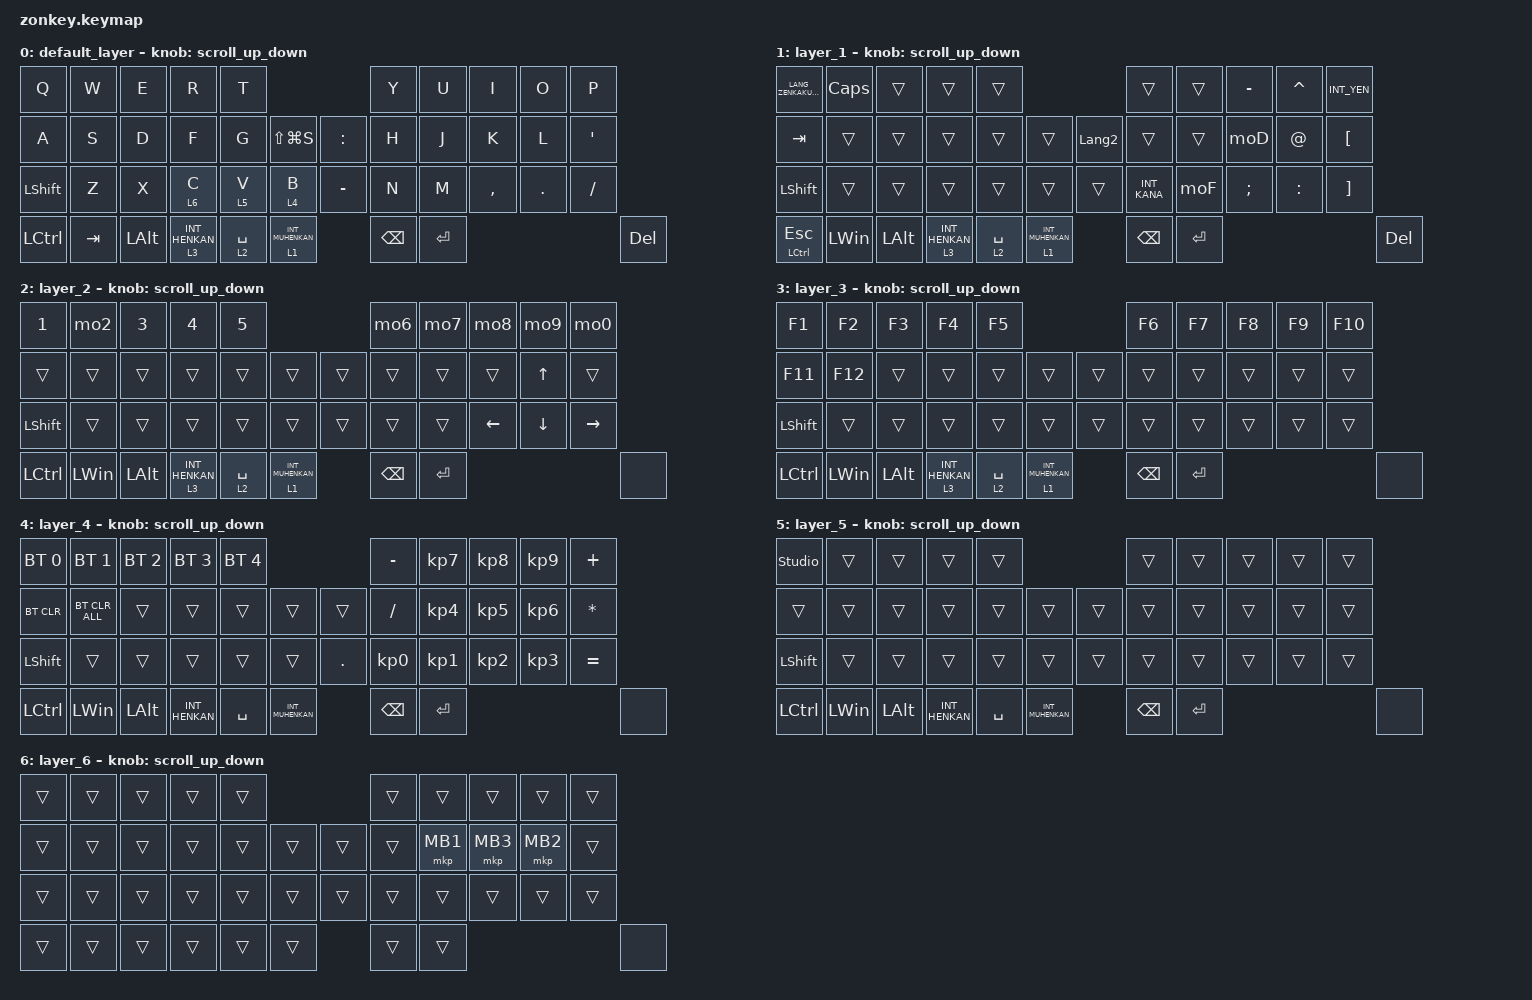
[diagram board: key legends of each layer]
#include <behaviors.dtsi>
#include <dt-bindings/zmk/bt.h>
#include <dt-bindings/zmk/keys.h>
#include <dt-bindings/zmk/pointing.h>

/* Redefinition guard for pointing */

#ifdef ZMK_POINTING_DEFAULT_SCRL_VAL
#undef ZMK_POINTING_DEFAULT_SCRL_VAL
#endif

#define ZMK_POINTING_DEFAULT_SCRL_VAL 100
#define MOUSE 6
#define JP_DQUOTE       AT               // "
#define JP_AMPERSAND    CARET             // &
#define JP_QUOTE        AMPERSAND         // '
#define JP_EQUAL        UNDER             // =
#define JP_CARET        EQUAL             // ^
#define JP_YEN          0x89              // ¥
#define JP_PLUS         COLON             // +
#define JP_TILDE        PLUS              // ~
#define JP_PIPE         LS(0x89)          // |
#define JP_AT           LEFT_BRACKET      // @
#define JP_COLON        SINGLE_QUOTE      // :
#define JP_ASTERISK     DOUBLE_QUOTES     // *
#define JP_BACKQUOTE    LEFT_BRACE        // `
#define JP_UNDERSCORE   LS(0x87)          // _
#define JP_LBRACKET     RIGHT_BRACKET     // [
#define JP_RBRACKET     BACKSLASH         // ]
#define JP_LPAREN       ASTERISK          // (
#define JP_RPAREN       LEFT_PARENTHESIS  // )
#define JP_LBRACE       RIGHT_BRACE        // {
#define JP_RBRACE       PIPE              // }
#define JP_KANA         LANGUAGE_1        // かな
#define JP_EISU         LANGUAGE_2        // 英数
#define JP_HANZEN       GRAVE             // 半角/全角
#define JP_BSLH         INT1              // (backslash)

&mt {
    flavor = "balanced";
    quick-tap-ms = <0>;
};

/ {
    combos { compatible = "zmk,combos"; };

    macros {
        to_layer_0: to_layer_0 {
            compatible = "zmk,behavior-macro-one-param";
            #binding-cells = <1>;
            bindings = <&to 0 &macro_param_1to1 &kp MACRO_PLACEHOLDER>;
            label = "TO_LAYER_0";
        };
    };

    behaviors {
        mo2: mo2 {
            compatible = "zmk,behavior-mod-morph";
            #binding-cells = <0>;
            bindings = <&kp N2>, <&kp AT>;

            mods = <(MOD_LSFT|MOD_RSFT)>;
        };

        mo6: mo6 {
            compatible = "zmk,behavior-mod-morph";
            #binding-cells = <0>;
            bindings = <&kp N6>, <&kp CARET>;

            mods = <(MOD_LSFT|MOD_RSFT)>;
        };

        mo7: mo7 {
            compatible = "zmk,behavior-mod-morph";
            #binding-cells = <0>;
            bindings = <&kp N7>, <&kp AMPS>;

            mods = <(MOD_LSFT|MOD_RSFT)>;
        };

        mo8: mo8 {
            compatible = "zmk,behavior-mod-morph";
            #binding-cells = <0>;
            bindings = <&kp N8>, <&kp ASTRK>;

            mods = <(MOD_LSFT|MOD_RSFT)>;
        };

        mo9: mo9 {
            compatible = "zmk,behavior-mod-morph";
            #binding-cells = <0>;
            bindings = <&kp N9>, <&kp LPAR>;

            mods = <(MOD_LSFT|MOD_RSFT)>;
        };

        mo0: mo0 {
            compatible = "zmk,behavior-mod-morph";
            #binding-cells = <0>;
            bindings = <&kp N0>, <&kp LS(N9)>;

            mods = <(MOD_LSFT|MOD_RSFT)>;
        };

        moA: moA {
            compatible = "zmk,behavior-mod-morph";
            #binding-cells = <0>;
            bindings = <&kp MINUS>, <&kp UNDERSCORE>;

            mods = <(MOD_LSFT|MOD_RSFT)>;
        };

        moB: moB {
            compatible = "zmk,behavior-mod-morph";
            #binding-cells = <0>;
            bindings = <&kp EQUAL>, <&kp PLUS>;

            mods = <(MOD_LSFT|MOD_RSFT)>;
        };

        moC: moC {
            compatible = "zmk,behavior-mod-morph";
            #binding-cells = <0>;
            bindings = <&kp INT3>, <&kp JP_PIPE>;

            mods = <(MOD_LSFT|MOD_RSFT)>;
        };

        moD: moD {
            compatible = "zmk,behavior-mod-morph";
            #binding-cells = <0>;
            bindings = <&kp LBKT>, <&kp LBRC>;

            mods = <(MOD_LSFT|MOD_RSFT)>;
        };

        moE: moE {
            compatible = "zmk,behavior-mod-morph";
            #binding-cells = <0>;
            bindings = <&kp RBKT>, <&kp RBRC>;

            mods = <(MOD_LSFT|MOD_RSFT)>;
        };

        moF: moF {
            compatible = "zmk,behavior-mod-morph";
            #binding-cells = <0>;
            bindings = <&kp SEMI>, <&kp KP_PLUS>;

            mods = <(MOD_LSFT|MOD_RSFT)>;
        };

        moG: moG {
            compatible = "zmk,behavior-mod-morph";
            #binding-cells = <0>;
            bindings = <&kp APOSTROPHE>, <&kp DQT>;

            mods = <(MOD_LSFT|MOD_RSFT)>;
        };

        moH: moH {
            compatible = "zmk,behavior-mod-morph";
            #binding-cells = <0>;
            bindings = <&kp BACKSLASH>, <&kp TILDE2>;

            mods = <(MOD_LSFT|MOD_RSFT)>;
        };

        moI: moI {
            compatible = "zmk,behavior-mod-morph";
            #binding-cells = <0>;
            bindings = <&kp JP_BSLH>, <&kp JP_UNDERSCORE>;

            mods = <(MOD_LSFT|MOD_RSFT)>;
        };

        lt_to_layer_0: lt_to_layer_0 {
            compatible = "zmk,behavior-hold-tap";
            label = "LAYER_TAP_TO_0";
            bindings = <&mo>, <&to_layer_0>;

            #binding-cells = <2>;
            tapping-term-ms = <200>;
        };

        scroll_up_down: behavior_sensor_rotate_mouse_wheel_up_down {
            compatible = "zmk,behavior-sensor-rotate";
            #sensor-binding-cells = <0>;
            bindings = <&msc SCRL_DOWN>, <&msc SCRL_UP>;

            tap-ms = <20>;
        };
    };

    keymap {
        compatible = "zmk,keymap";

        default_layer {
            bindings = <
&kp Q             &kp W    &kp E         &kp R             &kp T                                         &kp Y          &kp U      &kp I      &kp O    &kp P
&kp A             &kp S    &kp D         &kp F             &kp G        &kp LS(LG(S))         &kp COLON  &kp H          &kp J      &kp K      &kp L    &kp SQT
&kp LEFT_SHIFT    &kp Z    &kp X         &lt 6 C           &lt 5 V      &lt 4 B               &kp MINUS  &kp N          &kp M      &kp COMMA  &kp DOT  &kp SLASH
&kp LEFT_CONTROL  &kp TAB  &kp LEFT_ALT  &lt 3 INT_HENKAN  &lt 2 SPACE  &lt 1 INT_MUHENKAN               &kp BACKSPACE  &kp ENTER                                 &kp DELETE
            >;

            sensor-bindings = <&scroll_up_down>;
        };

        layer_1 {
            bindings = <
&kp LANG_ZENKAKUHANKAKU  &kp CAPS      &trans        &trans            &trans                                          &trans         &trans     &kp MINUS      &kp CARET    &kp INT_YEN
&kp TAB                  &trans        &trans        &trans            &trans       &trans                &kp JP_EISU  &trans         &trans     &moD           &kp AT_SIGN  &kp LEFT_BRACKET
&kp LEFT_SHIFT           &trans        &trans        &trans            &trans       &trans                &trans       &kp INT_KANA   &moF       &kp SEMICOLON  &kp COLON    &kp RIGHT_BRACKET
&mt LCTL ESC             &kp LEFT_WIN  &kp LEFT_ALT  &lt 3 INT_HENKAN  &lt 2 SPACE  &lt 1 INT_MUHENKAN                 &kp BACKSPACE  &kp ENTER                                                 &kp DELETE
            >;

            sensor-bindings = <&scroll_up_down>;
        };

        layer_2 {
            bindings = <
&kp N1          &mo2          &kp N3        &kp N4            &kp N5                                     &mo6           &mo7       &mo8            &mo9            &mo0
&trans          &trans        &trans        &trans            &trans       &trans                &trans  &trans         &trans     &trans          &kp UP_ARROW    &trans
&kp LEFT_SHIFT  &trans        &trans        &trans            &trans       &trans                &trans  &trans         &trans     &kp LEFT_ARROW  &kp DOWN_ARROW  &kp RIGHT_ARROW
&kp LCTRL       &kp LEFT_WIN  &kp LEFT_ALT  &lt 3 INT_HENKAN  &lt 2 SPACE  &lt 1 INT_MUHENKAN            &kp BACKSPACE  &kp ENTER                                                   &none
            >;

            sensor-bindings = <&scroll_up_down>;
        };

        layer_3 {
            bindings = <
&kp F1          &kp F2        &kp F3        &kp F4            &kp F5                                     &kp F6         &kp F7     &kp F8  &kp F9  &kp F10
&kp F11         &kp F12       &trans        &trans            &trans       &trans                &trans  &trans         &trans     &trans  &trans  &trans
&kp LEFT_SHIFT  &trans        &trans        &trans            &trans       &trans                &trans  &trans         &trans     &trans  &trans  &trans
&kp LCTRL       &kp LEFT_WIN  &kp LEFT_ALT  &lt 3 INT_HENKAN  &lt 2 SPACE  &lt 1 INT_MUHENKAN            &kp BACKSPACE  &kp ENTER                           &none
            >;

            sensor-bindings = <&scroll_up_down>;
        };

        layer_4 {
            bindings = <
&bt BT_SEL 0    &bt BT_SEL 1    &bt BT_SEL 2  &bt BT_SEL 3    &bt BT_SEL 4                               &kp MINUS        &kp KP_NUMBER_7  &kp KP_NUMBER_8  &kp KP_NUMBER_9  &kp PLUS
&bt BT_CLR      &bt BT_CLR_ALL  &trans        &trans          &trans        &trans              &trans   &kp SLASH        &kp KP_NUMBER_4  &kp KP_NUMBER_5  &kp KP_NUMBER_6  &kp ASTERISK
&kp LEFT_SHIFT  &trans          &trans        &trans          &trans        &trans              &kp DOT  &kp KP_NUMBER_0  &kp KP_NUMBER_1  &kp KP_NUMBER_2  &kp KP_NUMBER_3  &kp EQUAL
&kp LCTRL       &kp LEFT_WIN    &kp LEFT_ALT  &kp INT_HENKAN  &kp SPACE     &kp INT_MUHENKAN             &kp BACKSPACE    &kp ENTER                                                        &none
            >;

            sensor-bindings = <&scroll_up_down>;
        };

        layer_5 {
            bindings = <
&studio_unlock  &trans        &trans        &trans          &trans                                 &trans         &trans     &trans  &trans  &trans
&trans          &trans        &trans        &trans          &trans     &trans              &trans  &trans         &trans     &trans  &trans  &trans
&kp LEFT_SHIFT  &trans        &trans        &trans          &trans     &trans              &trans  &trans         &trans     &trans  &trans  &trans
&kp LCTRL       &kp LEFT_WIN  &kp LEFT_ALT  &kp INT_HENKAN  &kp SPACE  &kp INT_MUHENKAN            &kp BACKSPACE  &kp ENTER                          &none
            >;

            sensor-bindings = <&scroll_up_down>;
        };

        layer_6 {
            bindings = <
&trans  &trans  &trans  &trans  &trans                    &trans  &trans    &trans    &trans    &trans
&trans  &trans  &trans  &trans  &trans  &trans    &trans  &trans  &mkp MB1  &mkp MB3  &mkp MB2  &trans
&trans  &trans  &trans  &trans  &trans  &trans    &trans  &trans  &trans    &trans    &trans    &trans
&trans  &trans  &trans  &trans  &trans  &trans            &trans  &trans                                &none
            >;

            sensor-bindings = <&scroll_up_down>;
        };
    };
};
